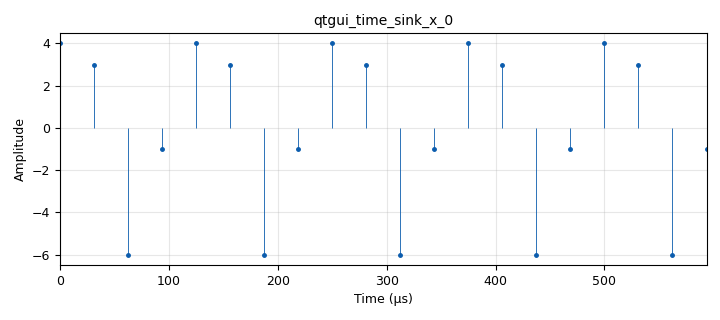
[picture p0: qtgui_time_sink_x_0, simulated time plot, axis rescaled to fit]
options:
  parameters:
    generate_options: qt_gui
    id: Diferenciador
    output_language: python
    title: Not titled yet
  states: {}

blocks:
- name: samp_rate
  id: variable
  parameters:
    value: '32000'
  states: {}
- name: blocks_vector_source_x_0
  id: blocks_vector_source_x
  parameters:
    repeat: 'True'
    type: float
    vector: (1, 4, -2, -3)
  states: {}
- name: epy_block_0
  id: epy_block
  parameters:
    _source_code: |
      """
      Embedded Python Blocks:

      Each time this file is saved, GRC will instantiate the first class it finds
      to get ports and parameters of your block. The arguments to __init__  will
      be the parameters. All of them are required to have default values!
      """

      import numpy as np
      from gnuradio import gr

      class blk(gr.sync_block):

          def __init__(self):
              gr.sync_block.__init__(
                  self,
                  name='e_Diff',  # Nombre del bloque en GRC
                  in_sig=[np.float32],
                  out_sig=[np.float32]
              )
              self.prev_value = 0  # Valor anterior para la diferenciación

          def work(self, input_items, output_items):
              x = input_items[0]  # Señal de entrada
              y0 = output_items[0]  # Señal diferenciada
              
              # Calcular la diferencia entre valores consecutivos
              y0[:] = np.diff(np.concatenate(([self.prev_value], x)))
              self.prev_value = x[-1]  # Actualizar el valor anterior
              
              return len(y0)
  states: {}
- name: qtgui_time_sink_x_0
  id: qtgui_time_sink_x
  parameters:
    marker1: '0'
    size: '20'
    srate: samp_rate
    stemplot: 'True'
    type: float
  states: {}

connections:
- [blocks_vector_source_x_0, '0', epy_block_0, '0']
- [epy_block_0, '0', qtgui_time_sink_x_0, '0']

metadata:
  file_format: 1
